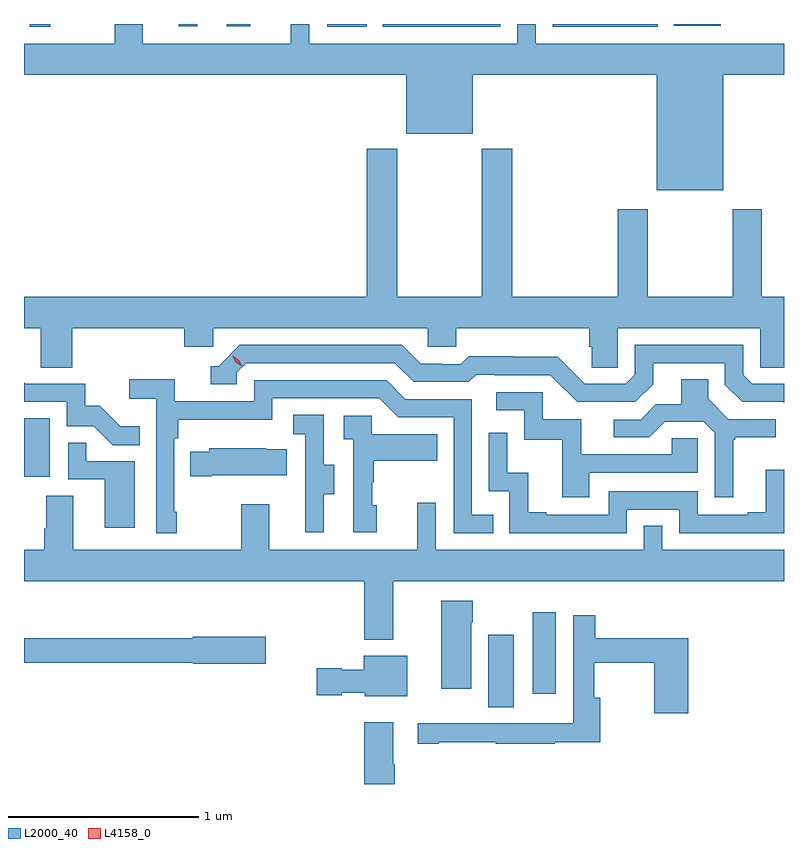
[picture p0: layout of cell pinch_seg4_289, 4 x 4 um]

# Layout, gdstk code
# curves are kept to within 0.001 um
import gdstk
lib = gdstk.Library(unit=1e-6, precision=1e-09)
def R(c, l, rs):  # rectangles x0, y0, x1, y1
    for r in rs: c.add(gdstk.rectangle(r[:2], r[2:], *l))
def P(c, l, *ps):  # polygons
    for p in ps: c.add(gdstk.Polygon(p, *l))
L2000_40 = (2000, 40)
L4158_0 = (4158, 0)

pinch_seg4_289 = lib.new_cell('pinch_seg4_289')
R(pinch_seg4_289, L2000_40, [(954.338,808.144,954.472,808.525), (954.572,808.215,954.694,808.645), (951.895,809.358,952.03,809.665), (951.924,811.725,952.033,811.74), (953.49,811.725,953.699,811.74), (953.784,811.725,954.402,811.74), (954.678,811.725,955.23,811.74), (952.709,811.728,952.807,811.74), (952.962,811.728,953.086,811.74), (955.315,811.731,955.561,811.74)])
P(pinch_seg4_289, L2000_40, [(955.576,811.472),(955.895,811.472),(955.895,811.636),(954.588,811.636),(954.588,811.74),(954.492,811.74),(954.492,811.636),(953.397,811.636),(953.397,811.74),(953.3,811.74),(953.3,811.636),(952.519,811.636),(952.519,811.74),(952.372,811.74),(952.372,811.636),(951.895,811.636),(951.895,811.472),(953.906,811.472),(953.906,811.163),(954.256,811.163),(954.256,811.472),(955.226,811.472),(955.226,810.866),(955.576,810.866)],
  [(952.148,810.14),(952.739,810.14),(952.739,810.042),(952.89,810.042),(952.89,810.14),(954.021,810.14),(954.021,810.042),(954.171,810.042),(954.171,810.14),(954.869,810.14),(954.869,810.042),(954.883,810.042),(954.883,809.932),(955.02,809.932),(955.02,810.14),(955.77,810.14),(955.77,809.932),(955.895,809.932),(955.895,810.304),(955.779,810.304),(955.779,810.766),(955.624,810.766),(955.624,810.304),(955.179,810.304),(955.179,810.766),(955.019,810.766),(955.019,810.304),(954.464,810.304),(954.464,811.084),(954.304,811.084),(954.304,810.304),(953.859,810.304),(953.859,811.084),(953.699,811.084),(953.699,810.304),(951.895,810.304),(951.895,810.14),(951.983,810.14),(951.983,809.932),(952.148,809.932)],
  [(955.895,809.847),(955.728,809.847),(955.68,809.895),(955.68,810.051),(955.11,810.051),(955.11,809.895),(955.062,809.847),(954.846,809.847),(954.704,809.989),(954.468,809.989),(954.468,809.992),(954.235,809.992),(954.193,809.949),(954.09,809.949),(954.09,809.952),(953.983,809.952),(953.884,810.051),(953.031,810.051),(952.92,809.94),(952.877,809.94),(952.877,809.844),(953.016,809.844),(953.016,809.907),(953.064,809.955),(953.847,809.955),(953.946,809.856),(954.235,809.856),(954.274,809.895),(954.373,809.895),(954.373,809.892),(954.666,809.892),(954.807,809.751),(955.113,809.751),(955.207,809.845),(955.207,809.955),(955.584,809.955),(955.584,809.841),(955.674,809.751),(955.895,809.75)],
  [(952.699,809.173),(952.686,809.173),(952.686,809.561),(952.706,809.561),(952.706,809.657),(953.202,809.657),(953.202,809.769),(953.766,809.769),(953.865,809.67),(954.156,809.67),(954.156,809.061),(954.365,809.061),(954.365,809.157),(954.252,809.157),(954.252,809.766),(953.902,809.766),(953.803,809.865),(953.106,809.865),(953.106,809.754),(952.688,809.754),(952.688,809.87),(952.449,809.87),(952.449,809.768),(952.59,809.768),(952.59,809.061),(952.699,809.061)],
  [(955.627,809.553),(955.639,809.553),(955.639,809.564),(955.852,809.564),(955.852,809.661),(955.602,809.661),(955.495,809.768),(955.495,809.87),(955.355,809.87),(955.355,809.738),(955.22,809.738),(955.14,809.658),(954.999,809.658),(954.999,809.565),(955.186,809.565),(955.267,809.646),(955.473,809.646),(955.53,809.589),(955.53,809.25),(955.627,809.25)],
  [(952.505,809.623),(952.401,809.623),(952.294,809.73),(952.218,809.73),(952.218,809.847),(951.899,809.847),(951.899,809.852),(951.895,809.852),(951.895,809.751),(952.119,809.751),(952.119,809.622),(952.263,809.622),(952.361,809.524),(952.505,809.524)],
  [(954.871,809.379),(955.44,809.379),(955.44,809.559),(955.303,809.559),(955.303,809.475),(954.829,809.475),(954.829,809.661),(954.624,809.661),(954.624,809.802),(954.381,809.802),(954.381,809.706),(954.528,809.706),(954.528,809.553),(954.727,809.553),(954.727,809.25),(954.871,809.25)],
  [(953.473,809.266),(953.527,809.266),(953.527,809.421),(953.472,809.421),(953.472,809.684),(953.313,809.684),(953.313,809.581),(953.376,809.581),(953.376,809.277),(953.375,809.277),(953.375,809.064),(953.473,809.064)],
  [(953.752,809.208),(953.727,809.208),(953.727,809.327),(953.737,809.327),(953.737,809.441),(954.071,809.441),(954.071,809.581),(953.724,809.581),(953.724,809.679),(953.577,809.679),(953.577,809.555),(953.628,809.555),(953.628,809.064),(953.752,809.064)],
  [(955.068,809.184),(955.344,809.184),(955.344,809.061),(955.895,809.061),(955.895,809.395),(955.799,809.395),(955.799,809.17),(955.703,809.17),(955.703,809.157),(955.44,809.157),(955.44,809.28),(954.972,809.28),(954.972,809.157),(954.643,809.157),(954.643,809.17),(954.548,809.17),(954.548,809.378),(954.438,809.378),(954.438,809.59),(954.342,809.59),(954.342,809.28),(954.45,809.28),(954.45,809.061),(955.068,809.061)],
  [(952.477,809.439),(952.223,809.439),(952.223,809.537),(952.128,809.537),(952.128,809.343),(952.319,809.343),(952.319,809.088),(952.477,809.088)],
  [(952.882,809.366),(953.279,809.366),(953.279,809.503),(953.171,809.503),(953.171,809.506),(952.869,809.506),(952.869,809.488),(952.771,809.488),(952.771,809.359),(952.882,809.359)],
  [(953.839,808.808),(955.895,808.808),(955.895,808.972),(955.254,808.972),(955.254,809.099),(955.158,809.099),(955.158,808.972),(954.063,808.972),(954.063,809.221),(953.966,809.221),(953.966,808.972),(953.185,808.972),(953.185,809.212),(953.038,809.212),(953.038,808.972),(952.153,808.972),(952.153,809.258),(952.013,809.258),(952.013,809.084),(952.001,809.084),(952.001,808.972),(951.895,808.972),(951.895,808.808),(953.687,808.808),(953.687,808.499),(953.839,808.499)],
  [(954.25,808.592),(954.258,808.592),(954.258,808.705),(954.092,808.705),(954.092,808.242),(954.25,808.242)],
  [(954.079,807.961),(954.379,807.961),(954.379,807.951),(954.689,807.951),(954.689,807.961),(954.929,807.961),(954.929,808.195),(954.895,808.195),(954.895,808.378),(955.213,808.378),(955.213,808.113),(955.391,808.113),(955.391,808.507),(954.902,808.507),(954.902,808.627),(954.786,808.627),(954.786,808.06),(954.576,808.06),(954.576,808.059),(954.242,808.059),(954.242,808.061),(953.967,808.061),(953.967,807.951),(954.079,807.951)],
  [(953.167,808.515),(952.782,808.515),(952.782,808.507),(951.895,808.507),(951.895,808.378),(952.782,808.378),(952.782,808.373),(953.167,808.373)],
  [(953.911,808.414),(953.684,808.414),(953.684,808.342),(953.568,808.342),(953.568,808.35),(953.436,808.35),(953.436,808.208),(953.568,808.208),(953.568,808.22),(953.688,808.22),(953.688,808.202),(953.911,808.202)],
  [(953.847,807.845),(953.839,807.845),(953.839,808.066),(953.687,808.066),(953.687,807.74),(953.847,807.74)])
P(pinch_seg4_289, L4158_0, [(953.039,809.941),(953.009,809.961),(952.994,809.994),(952.994,809.994),(952.994,809.994),(953.024,809.974),(953.04,809.941),(953.04,809.941)])

lib.write_gds('pinch_seg4_289.gds')
